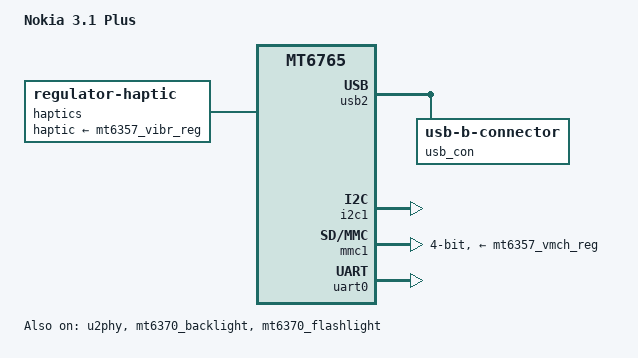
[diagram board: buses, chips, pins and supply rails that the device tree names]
// SPDX-License-Identifier: (GPL-2.0 OR MIT)
/*
 * Device Tree Source for Nokia 3.1 Plus (ROO)
 *
 * Copyright (c) 2023 Arseniy Velikanov <adomerlee@gmail.com>
 */

/dts-v1/;

#include "mt6765.dtsi"
#include "mt6765-bl-quirks.dtsi"
#include "mt6357.dtsi"
#include "mt6370.dtsi"

/ {
    model = "Nokia 3.1 Plus";
    compatible = "nokia,roo", "mediatek,mt6762", "mediatek,mt6765";

    haptics {
        compatible = "regulator-haptic";
        haptic-supply = <&mt6357_vibr_reg>;
        max-microvolt = <2300000>;
        min-microvolt = <3200000>;
    };

    /* The following are required by stock bootloader to merge with minimal DTBO */
    gpio@10005000 {
        linux,phandle = <0xdead>;
        phandle = <0xdead>;
    };
    __symbols__ {
        gpio = "/gpio@10005000";
    };
};

&pwrap {
    status = "okay";
};

&usb2 {
    status = "okay";

    usb_con: connector {
        compatible = "usb-b-connector";
        type = "micro";
    };
};

&u2phy {
    status = "okay";
};

&i2c1 {
    status = "okay";
};

&mt6370_backlight {
    status = "okay";

    max-brightness = <1024>;
    default-brightness = <1024>;
};


&mt6370_flashlight {
    status = "okay";
};

&mmc0 {
    status = "disabled"; // Broken for now

    vmmc-supply = <&mt6357_vemc_reg>;
    vqmmc-supply = <&mt6357_vio18_reg>;

    bus-width = <8>;
    max-frequency = <200000000>;
    non-removable;
    cap-mmc-hw-reset;
    cap-mmc-highspeed;
    //mmc-ddr-1_8v;
    //mmc-hs200-1_8v;
    //mmc-hs400-1_8v;
};

&mmc1 {
    status = "okay";

    vmmc-supply = <&mt6357_vmch_reg>;
    vqmmc-supply = <&mt6357_vmc_reg>;

    bus-width = <4>;
    max-frequency = <20000000>;
    cap-sd-highspeed;
    sd-uhs-sdr12;
    sd-uhs-sdr25;
    sd-uhs-sdr50;
    sd-uhs-sdr104;
    sd-uhs-ddr50;
};

&uart0 {
    status = "okay";
};
